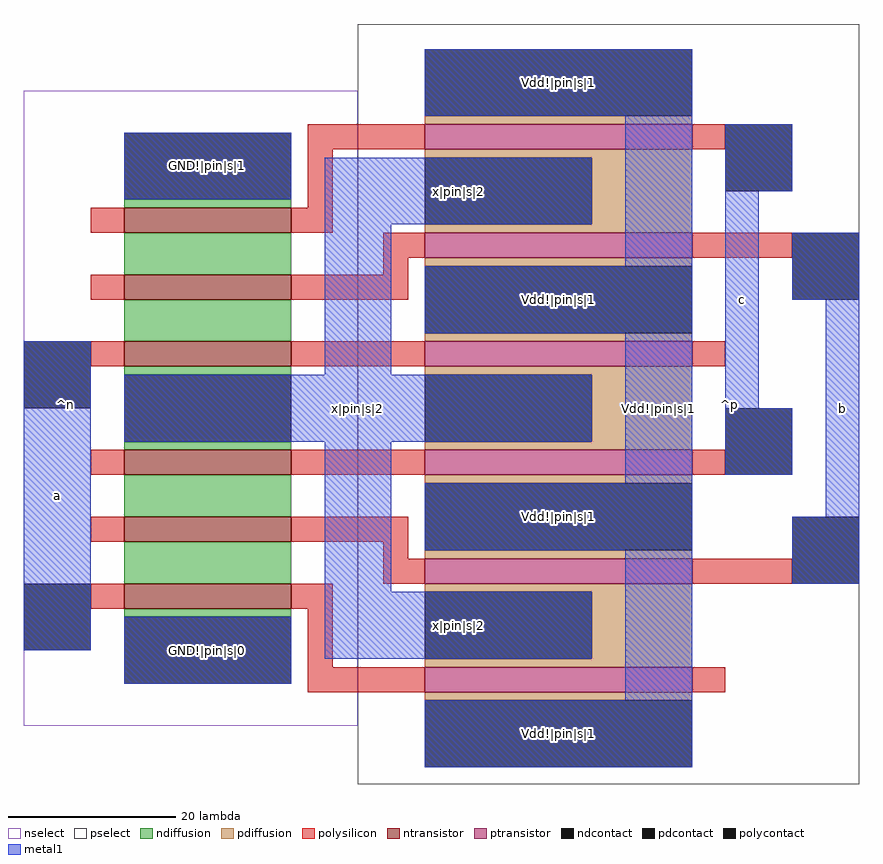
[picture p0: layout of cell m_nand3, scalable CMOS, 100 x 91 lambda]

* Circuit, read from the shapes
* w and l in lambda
.subckt m_nand3 GND!|pin|s|0 GND!|pin|s|1 Vdd!|pin|s|1 a b c x|pin|s|2
M1 n1 a GND!|pin|s|0 VSUBS nfet w=20 l=3
M2 n2 b n1 VSUBS nfet w=20 l=3
M3 x|pin|s|2 c n2 VSUBS nfet w=20 l=3
M4 n3 a x|pin|s|2 VSUBS nfet w=20 l=3
M5 n4 b n3 VSUBS nfet w=20 l=3
M6 GND!|pin|s|1 c n4 VSUBS nfet w=20 l=3
M7 x|pin|s|2 a Vdd!|pin|s|1 NWELL pfet w=32 l=3 m=2
M8 Vdd!|pin|s|1 b x|pin|s|2 NWELL pfet w=32 l=3 m=2
M9 x|pin|s|2 c Vdd!|pin|s|1 NWELL pfet w=32 l=3 m=2
.ends

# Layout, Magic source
magic
tech scmos
<< nselect >>
rect -40 482 0 558
<< pselect >>
rect 0 475 60 566
<< ndiffusion >>
rect -28 544 -8 545
rect -28 536 -8 541
rect -28 528 -8 533
rect -28 524 -8 525
rect -28 515 -8 516
rect -28 507 -8 512
rect -28 499 -8 504
rect -28 495 -8 496
<< pdiffusion >>
rect 8 554 40 555
rect 8 550 40 551
rect 28 542 40 550
rect 8 541 40 542
rect 8 537 40 538
rect 8 528 40 529
rect 8 524 40 525
rect 28 516 40 524
rect 8 515 40 516
rect 8 511 40 512
rect 8 502 40 503
rect 8 498 40 499
rect 28 490 40 498
rect 8 489 40 490
rect 8 485 40 486
<< ntransistor >>
rect -28 541 -8 544
rect -28 533 -8 536
rect -28 525 -8 528
rect -28 512 -8 515
rect -28 504 -8 507
rect -28 496 -8 499
<< ptransistor >>
rect 8 551 40 554
rect 8 538 40 541
rect 8 525 40 528
rect 8 512 40 515
rect 8 499 40 502
rect 8 486 40 489
<< polysilicon >>
rect -6 551 8 554
rect 40 551 44 554
rect -6 544 -3 551
rect -32 541 -28 544
rect -8 541 -3 544
rect 3 538 8 541
rect 40 538 52 541
rect 3 536 6 538
rect -32 533 -28 536
rect -8 533 6 536
rect -32 525 -28 528
rect -8 525 8 528
rect 40 525 44 528
rect -32 512 -28 515
rect -8 512 8 515
rect 40 512 44 515
rect -32 504 -28 507
rect -8 504 6 507
rect 3 502 6 504
rect 3 499 8 502
rect 40 499 52 502
rect -32 496 -28 499
rect -8 496 -3 499
rect -6 489 -3 496
rect -6 486 8 489
rect 40 486 44 489
<< ndcontact >>
rect -28 545 -8 553
rect -28 516 -8 524
rect -28 487 -8 495
<< pdcontact >>
rect 8 555 40 563
rect 8 542 28 550
rect 8 529 40 537
rect 8 516 28 524
rect 8 503 40 511
rect 8 490 28 498
rect 8 477 40 485
<< polycontact >>
rect 44 546 52 554
rect 52 533 60 541
rect -40 520 -32 528
rect 44 512 52 520
rect 52 499 60 507
rect -40 491 -32 499
<< metal1 >>
rect 8 555 40 563
rect -28 545 -8 553
rect -4 542 28 550
rect -40 491 -32 528
rect -4 524 4 542
rect 32 537 40 555
rect 8 529 40 537
rect -28 516 28 524
rect -4 498 4 516
rect 32 511 40 529
rect 44 546 52 554
rect 44 520 48 546
rect 52 533 60 541
rect 44 512 52 520
rect 8 503 40 511
rect 56 507 60 533
rect -28 487 -8 495
rect -4 490 28 498
rect 32 485 40 503
rect 52 499 60 507
rect 8 477 40 485
<< labels >>
rlabel metal1 44 512 48 554 1 c
rlabel metal1 56 499 60 541 7 b
rlabel metal1 -40 491 -32 528 3 a
rlabel space -42 475 -28 566 7 ^n
rlabel space 28 475 61 566 3 ^p
rlabel metal1 -28 487 -8 495 1 GND!|pin|s|0
rlabel metal1 8 503 40 511 1 Vdd!|pin|s|1
rlabel metal1 32 477 40 563 1 Vdd!|pin|s|1
rlabel metal1 -4 490 4 550 1 x|pin|s|2
rlabel metal1 -4 542 28 550 1 x|pin|s|2
rlabel metal1 -28 516 28 524 1 x|pin|s|2
rlabel metal1 -4 490 28 498 1 x|pin|s|2
rlabel metal1 8 555 40 563 1 Vdd!|pin|s|1
rlabel metal1 8 529 40 537 1 Vdd!|pin|s|1
rlabel metal1 8 477 40 485 1 Vdd!|pin|s|1
rlabel metal1 -28 545 -8 553 1 GND!|pin|s|1
<< end >>
